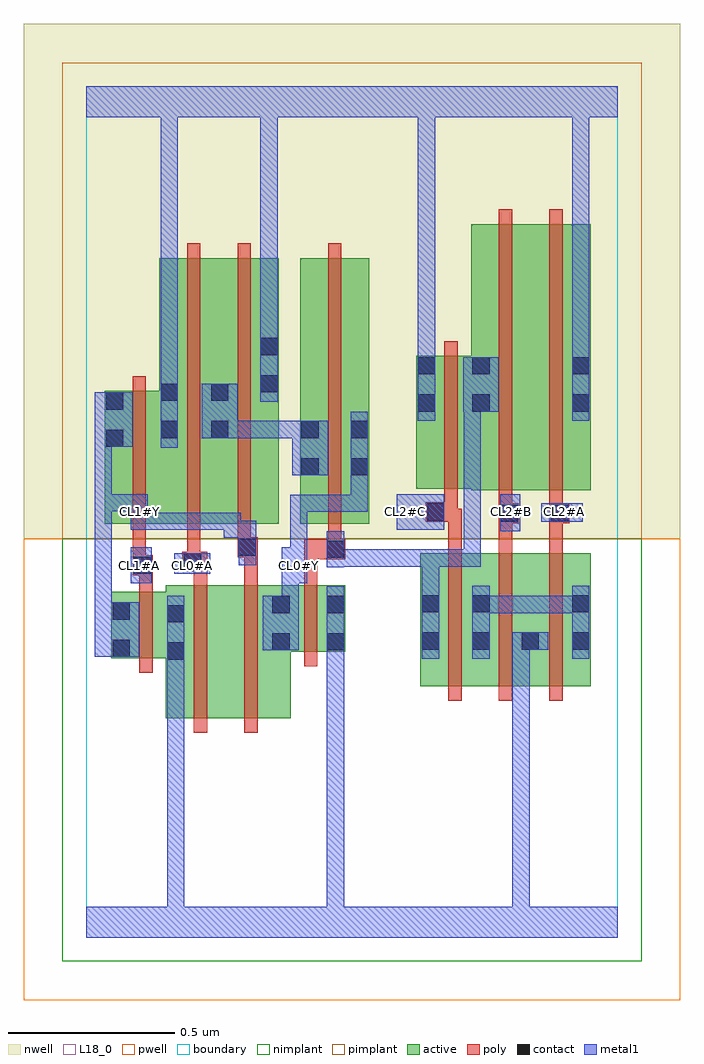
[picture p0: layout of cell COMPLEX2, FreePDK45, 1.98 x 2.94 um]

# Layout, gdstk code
import gdstk
lib = gdstk.Library(unit=1e-6, precision=1e-09)
def R(c, l, rs):  # rectangles x0, y0, x1, y1
    for r in rs: c.add(gdstk.rectangle(r[:2], r[2:], *l))
def A(c, l, x, y, w, h, nx, ny, dx, dy):  # array of equal rectangles
    R(c, l, [(x+i*dx, y+j*dy, x+i*dx+w, y+j*dy+h) for i in range(nx) for j in range(ny)])
active = (1, 0)
pwell = (2, 0)
nwell = (3, 0)
nimplant = (4, 0)
pimplant = (5, 0)
poly = (9, 0)
contact = (10, 0)
metal1 = (11, 0)
L18_0 = (18, 0)
boundary = (235, 0)

complex2 = lib.new_cell('COMPLEX2')
R(complex2, active, [(0.24,0.66,0.42,1.06), (0.24,0.66,0.3,1.004), (0.42,0.66,0.616,1.06), (0.556,0.66,0.616,1.06), (1.006,0.756,1.066,1.156), (1.006,0.756,1.218,1.156), (1.158,0.756,1.218,1.156), (1.158,0.756,1.366,1.156), (1.306,0.756,1.366,1.156), (1.306,0.756,1.518,1.156), (1.458,0.756,1.518,1.156), (0.076,0.84,0.136,1.04), (0.076,0.84,0.3,1.04), (0.556,0.86,0.78,1.06), (0.72,0.86,0.78,1.06), (0.056,1.244,0.116,1.644), (0.056,1.244,0.28,1.644), (0.22,1.244,0.432,2.044), (0.22,1.244,0.28,1.67), (0.372,1.244,0.432,2.044), (0.372,1.244,0.58,2.044), (0.52,1.244,0.58,2.044), (0.644,1.244,0.704,2.044), (0.644,1.244,0.852,2.044), (0.792,1.244,0.852,2.044), (1.158,1.346,1.338,2.146), (1.338,1.346,1.518,2.146), (1.458,1.346,1.518,2.044), (0.994,1.35,1.054,1.75), (0.994,1.35,1.218,1.75), (1.158,1.35,1.218,1.75)])
R(complex2, pwell, [(-0.188,-0.188,1.788,1.2)])
R(complex2, nwell, [(-0.188,1.2,1.788,2.748)])
R(complex2, nimplant, [(-0.072,-0.072,1.672,1.2)])
R(complex2, pimplant, [(-0.072,1.2,1.672,2.632)])
A(complex2, poly, 1.09, 0.712, 0.04, 0.488, 3, 1, 0.152, 0)
R(complex2, poly, [(0.324,0.616,0.364,1.104), (0.476,0.616,0.516,1.104), (0.16,0.796,0.2,1.084), (0.656,0.816,0.696,1.104), (0.16,1.044,0.2,1.13), (0.324,1.064,0.364,1.14), (0.476,1.064,0.516,1.184), (0.656,1.064,0.696,1.178), (0.14,1.09,0.2,1.15), (0.29,1.1,0.364,1.16), (0.14,1.11,0.18,1.15), (0.14,1.11,0.18,1.15), (0.14,1.11,0.18,1.24), (0.304,1.12,0.344,1.16), (0.304,1.12,0.344,1.16), (0.304,1.12,0.344,1.24), (0.656,1.138,0.78,1.198), (0.456,1.144,0.516,1.204), (0.476,1.144,0.516,1.184), (0.476,1.144,0.516,1.184), (0.728,1.158,0.768,1.198), (0.728,1.158,0.768,1.198), (0.728,1.158,0.768,1.24), (1.09,1.16,1.13,1.29), (1.242,1.16,1.282,1.286), (1.394,1.16,1.434,1.286), (0.456,1.164,0.496,1.24), (0.14,1.2,0.18,1.688), (0.304,1.2,0.344,2.088), (0.456,1.2,0.496,2.088), (0.728,1.2,0.768,2.088), (1.242,1.246,1.282,1.286), (1.242,1.246,1.282,1.286), (1.242,1.246,1.302,1.306), (1.394,1.246,1.434,1.286), (1.394,1.246,1.434,1.286), (1.394,1.246,1.454,1.306), (1.022,1.25,1.118,1.31), (1.078,1.25,1.118,1.29), (1.078,1.25,1.13,1.29), (1.242,1.266,1.282,1.342), (1.394,1.266,1.434,1.342), (1.078,1.27,1.118,1.346), (1.242,1.302,1.282,2.19), (1.394,1.302,1.434,2.19), (1.078,1.306,1.118,1.794)])
R(complex2, contact, [(0.244,0.836,0.296,0.888), (0.08,0.844,0.132,0.896), (0.56,0.864,0.612,0.916), (0.724,0.864,0.776,0.916), (1.01,0.866,1.062,0.918), (1.162,0.866,1.214,0.918), (1.31,0.866,1.362,0.918), (1.462,0.866,1.514,0.918), (0.244,0.948,0.296,1), (0.08,0.956,0.132,1.008), (0.56,0.976,0.612,1.028), (0.724,0.976,0.776,1.028), (1.01,0.978,1.062,1.03), (1.162,0.978,1.214,1.03), (1.462,0.978,1.514,1.03), (0.144,1.094,0.196,1.146), (0.294,1.104,0.346,1.156), (0.724,1.142,0.776,1.194), (0.46,1.148,0.512,1.2), (1.246,1.25,1.298,1.302), (1.398,1.25,1.45,1.302), (1.026,1.254,1.078,1.306), (0.648,1.39,0.7,1.442), (0.796,1.39,0.848,1.442), (0.06,1.476,0.112,1.528), (0.224,1.502,0.276,1.554), (0.376,1.502,0.428,1.554), (0.648,1.502,0.7,1.554), (0.796,1.502,0.848,1.554), (0.998,1.582,1.05,1.634), (1.162,1.582,1.214,1.634), (1.462,1.582,1.514,1.634), (0.06,1.588,0.112,1.64), (0.224,1.614,0.276,1.666), (0.376,1.614,0.428,1.666), (0.524,1.64,0.576,1.692), (0.998,1.694,1.05,1.746), (1.162,1.694,1.214,1.746), (1.462,1.694,1.514,1.746), (0.524,1.752,0.576,1.804)])
R(complex2, metal1, [(0,0,1.6,0.092), (0.244,0.04,0.296,0.092), (0.244,0.04,0.296,0.092), (0.244,0.04,0.296,0.86), (0.724,0.04,0.776,0.092), (0.724,0.04,0.776,0.092), (0.724,0.04,0.776,0.888), (1.282,0.04,1.334,0.092), (1.282,0.04,1.334,0.092), (1.282,0.04,1.334,0.092), (1.282,0.04,1.334,0.092), (1.282,0.04,1.334,0.092), (1.282,0.04,1.334,0.092), (1.282,0.04,1.334,0.918), (0.244,0.808,0.296,0.86), (0.244,0.808,0.296,0.86), (0.244,0.808,0.296,0.86), (0.244,0.808,0.296,0.86), (0.244,0.808,0.296,0.86), (0.244,0.808,0.296,0.86), (0.244,0.808,0.296,0.86), (0.244,0.808,0.296,0.86), (0.244,0.808,0.296,0.86), (0.244,0.808,0.296,0.86), (0.244,0.808,0.296,1.028), (0.724,0.836,0.776,0.888), (0.724,0.836,0.776,0.888), (0.724,0.836,0.776,0.888), (0.724,0.836,0.776,0.888), (0.724,0.836,0.776,0.888), (0.724,0.836,0.776,0.888), (0.724,0.836,0.776,0.888), (0.724,0.836,0.776,0.888), (0.724,0.836,0.776,0.888), (0.724,0.836,0.776,0.888), (0.724,0.836,0.776,0.888), (0.724,0.836,0.776,0.888), (0.724,0.836,0.776,0.888), (0.724,0.836,0.776,0.888), (0.724,0.836,0.776,1.056), (1.01,0.838,1.062,1.058), (1.162,0.838,1.214,1.058), (1.462,0.838,1.514,1.058), (0.026,0.844,0.16,1.008), (0.532,0.864,0.64,1.028), (1.282,0.866,1.334,0.918), (1.282,0.866,1.334,0.918), (1.282,0.866,1.334,0.918), (1.282,0.866,1.334,0.918), (1.282,0.866,1.334,0.918), (1.282,0.866,1.334,0.918), (1.282,0.866,1.39,0.918), (0.026,0.956,0.078,1.008), (0.026,0.956,0.078,1.008), (0.026,0.956,0.078,1.334), (0.588,0.976,0.64,1.118), (1.162,0.976,1.214,1.028), (1.162,0.976,1.214,1.028), (1.162,0.976,1.404,1.028), (1.352,0.976,1.404,1.028), (1.352,0.976,1.514,1.028), (1.462,0.976,1.514,1.028), (1.462,0.976,1.514,1.028), (1.01,1.006,1.062,1.168), (0.134,1.066,0.198,1.174), (0.588,1.066,0.666,1.174), (0.266,1.094,0.374,1.156), (0.724,1.114,0.776,1.222), (0.724,1.116,0.776,1.168), (0.724,1.116,0.776,1.168), (0.724,1.116,1.062,1.168), (1.01,1.116,1.062,1.168), (1.01,1.116,1.062,1.168), (1.01,1.116,1.062,1.168), (1.01,1.116,1.188,1.168), (1.136,1.116,1.188,1.168), (1.136,1.116,1.188,1.634), (0.46,1.12,0.512,1.254), (0.614,1.122,0.666,1.332), (0.414,1.202,0.512,1.254), (0.414,1.202,0.466,1.278), (1.246,1.222,1.306,1.334), (0.134,1.226,0.186,1.334), (0.134,1.226,0.308,1.278), (0.256,1.226,0.308,1.278), (0.256,1.226,0.466,1.278), (0.934,1.226,1.078,1.334), (1.37,1.25,1.494,1.306), (0.614,1.28,0.666,1.332), (0.614,1.28,0.848,1.332), (0.796,1.28,0.848,1.332), (0.796,1.28,0.848,1.332), (0.796,1.28,0.848,1.332), (0.796,1.28,0.848,1.414), (0.026,1.282,0.078,1.334), (0.026,1.282,0.078,1.334), (0.026,1.282,0.078,1.334), (0.026,1.282,0.186,1.334), (0.026,1.282,0.078,1.528), (0.796,1.362,0.848,1.582), (0.62,1.39,0.728,1.554), (0.224,1.474,0.276,1.694), (0.026,1.476,0.14,1.64), (0.348,1.502,0.456,1.666), (0.404,1.502,0.456,1.554), (0.404,1.502,0.456,1.554), (0.404,1.502,0.576,1.554), (0.524,1.502,0.576,1.554), (0.524,1.502,0.672,1.554), (0.998,1.554,1.05,1.774), (1.462,1.554,1.514,1.774), (1.134,1.582,1.242,1.746), (1.136,1.582,1.188,1.634), (1.136,1.582,1.188,1.634), (0.524,1.612,0.576,1.832), (0.224,1.642,0.276,1.694), (0.224,1.642,0.276,1.694), (0.224,1.642,0.276,1.694), (0.224,1.642,0.276,1.694), (0.224,1.642,0.276,2.52), (0.998,1.722,1.05,1.774), (0.998,1.722,1.05,1.774), (0.998,1.722,1.05,1.774), (0.998,1.722,1.05,1.774), (0.998,1.722,1.05,1.774), (0.998,1.722,1.05,1.774), (0.998,1.722,1.05,1.774), (0.998,1.722,1.05,1.774), (0.998,1.722,1.05,1.774), (0.998,1.722,1.05,1.774), (0.998,1.722,1.05,1.774), (0.998,1.722,1.05,1.774), (0.998,1.722,1.05,1.774), (0.998,1.722,1.05,1.774), (0.998,1.722,1.05,2.52), (1.462,1.722,1.514,1.774), (1.462,1.722,1.514,1.774), (1.462,1.722,1.514,1.774), (1.462,1.722,1.514,1.774), (1.462,1.722,1.514,2.52), (0.524,1.78,0.576,1.832), (0.524,1.78,0.576,1.832), (0.524,1.78,0.576,2.52), (0,2.468,1.6,2.56), (0.224,2.468,0.276,2.52), (0.224,2.468,0.276,2.52), (0.224,2.468,0.276,2.52), (0.224,2.468,0.276,2.52), (0.524,2.468,0.576,2.52), (0.524,2.468,0.576,2.52), (0.524,2.468,0.576,2.52), (0.524,2.468,0.576,2.52), (0.524,2.468,0.576,2.52), (0.524,2.468,0.576,2.52), (0.998,2.468,1.05,2.52), (0.998,2.468,1.05,2.52), (1.462,2.468,1.514,2.52), (1.462,2.468,1.514,2.52), (1.462,2.468,1.514,2.52), (1.462,2.468,1.514,2.52)])
R(complex2, L18_0, [(0,0,1.6,0.092), (0.244,0.04,0.296,0.092), (0.244,0.04,0.296,0.092), (0.244,0.04,0.296,0.86), (0.724,0.04,0.776,0.092), (0.724,0.04,0.776,0.092), (0.724,0.04,0.776,0.888), (1.282,0.04,1.334,0.092), (1.282,0.04,1.334,0.092), (1.282,0.04,1.334,0.092), (1.282,0.04,1.334,0.092), (1.282,0.04,1.334,0.092), (1.282,0.04,1.334,0.092), (1.282,0.04,1.334,0.918), (0.244,0.808,0.296,0.86), (0.244,0.808,0.296,0.86), (0.244,0.808,0.296,0.86), (0.244,0.808,0.296,0.86), (0.244,0.808,0.296,0.86), (0.244,0.808,0.296,0.86), (0.244,0.808,0.296,0.86), (0.244,0.808,0.296,0.86), (0.244,0.808,0.296,0.86), (0.244,0.808,0.296,0.86), (0.244,0.808,0.296,1.028), (0.724,0.836,0.776,0.888), (0.724,0.836,0.776,0.888), (0.724,0.836,0.776,0.888), (0.724,0.836,0.776,0.888), (0.724,0.836,0.776,0.888), (0.724,0.836,0.776,0.888), (0.724,0.836,0.776,0.888), (0.724,0.836,0.776,0.888), (0.724,0.836,0.776,0.888), (0.724,0.836,0.776,0.888), (0.724,0.836,0.776,0.888), (0.724,0.836,0.776,0.888), (0.724,0.836,0.776,0.888), (0.724,0.836,0.776,0.888), (0.724,0.836,0.776,1.056), (0.026,0.844,0.16,1.008), (0.532,0.864,0.64,1.028), (1.282,0.866,1.334,0.918), (1.282,0.866,1.334,0.918), (1.282,0.866,1.334,0.918), (1.282,0.866,1.334,0.918), (1.282,0.866,1.334,0.918), (1.282,0.866,1.334,0.918), (1.282,0.866,1.39,0.918), (0.026,0.956,0.078,1.008), (0.026,0.956,0.078,1.008), (0.026,0.956,0.078,1.334), (0.588,0.976,0.64,1.118), (0.134,1.066,0.198,1.174), (0.588,1.066,0.666,1.174), (0.134,1.094,0.186,1.146), (0.266,1.094,0.374,1.156), (0.294,1.094,0.346,1.146), (0.614,1.094,0.666,1.146), (0.46,1.12,0.512,1.254), (0.614,1.122,0.666,1.332), (0.414,1.202,0.466,1.278), (0.414,1.202,0.512,1.254), (1.246,1.222,1.306,1.334), (0.134,1.226,0.186,1.334), (0.134,1.226,0.308,1.278), (0.256,1.226,0.308,1.278), (0.256,1.226,0.466,1.278), (0.934,1.226,1.078,1.334), (1.37,1.25,1.494,1.306), (0.134,1.254,0.186,1.306), (0.934,1.254,0.986,1.306), (1.254,1.254,1.306,1.306), (1.414,1.254,1.466,1.306), (0.614,1.28,0.666,1.332), (0.614,1.28,0.848,1.332), (0.796,1.28,0.848,1.332), (0.796,1.28,0.848,1.332), (0.796,1.28,0.848,1.332), (0.796,1.28,0.848,1.414), (0.026,1.282,0.078,1.334), (0.026,1.282,0.078,1.334), (0.026,1.282,0.078,1.334), (0.026,1.282,0.078,1.528), (0.026,1.282,0.186,1.334), (0.796,1.362,0.848,1.582), (0.224,1.474,0.276,1.694), (0.026,1.476,0.14,1.64), (0.998,1.554,1.05,1.774), (1.462,1.554,1.514,1.774), (0.524,1.612,0.576,1.832), (0.224,1.642,0.276,1.694), (0.224,1.642,0.276,1.694), (0.224,1.642,0.276,1.694), (0.224,1.642,0.276,1.694), (0.224,1.642,0.276,2.52), (0.998,1.722,1.05,1.774), (0.998,1.722,1.05,1.774), (0.998,1.722,1.05,1.774), (0.998,1.722,1.05,1.774), (0.998,1.722,1.05,1.774), (0.998,1.722,1.05,1.774), (0.998,1.722,1.05,1.774), (0.998,1.722,1.05,1.774), (0.998,1.722,1.05,1.774), (0.998,1.722,1.05,1.774), (0.998,1.722,1.05,1.774), (0.998,1.722,1.05,1.774), (0.998,1.722,1.05,1.774), (0.998,1.722,1.05,1.774), (0.998,1.722,1.05,2.52), (1.462,1.722,1.514,1.774), (1.462,1.722,1.514,1.774), (1.462,1.722,1.514,1.774), (1.462,1.722,1.514,1.774), (1.462,1.722,1.514,2.52), (0.524,1.78,0.576,1.832), (0.524,1.78,0.576,1.832), (0.524,1.78,0.576,2.52), (0,2.468,1.6,2.56), (0.224,2.468,0.276,2.52), (0.224,2.468,0.276,2.52), (0.224,2.468,0.276,2.52), (0.224,2.468,0.276,2.52), (0.524,2.468,0.576,2.52), (0.524,2.468,0.576,2.52), (0.524,2.468,0.576,2.52), (0.524,2.468,0.576,2.52), (0.524,2.468,0.576,2.52), (0.524,2.468,0.576,2.52), (0.998,2.468,1.05,2.52), (0.998,2.468,1.05,2.52), (1.462,2.468,1.514,2.52), (1.462,2.468,1.514,2.52), (1.462,2.468,1.514,2.52), (1.462,2.468,1.514,2.52)])
R(complex2, boundary, [(0,0,1.6,2.56)])
complex2.add(gdstk.Label('CL0#A', (0.32,1.12), layer=11, texttype=0))
complex2.add(gdstk.Label('CL0#Y', (0.64,1.12), layer=11, texttype=0))
complex2.add(gdstk.Label('CL1#A', (0.16,1.12), layer=11, texttype=0))
complex2.add(gdstk.Label('CL1#Y', (0.16,1.28), layer=11, texttype=0))
complex2.add(gdstk.Label('CL2#A', (1.44,1.28), layer=11, texttype=0))
complex2.add(gdstk.Label('CL2#B', (1.28,1.28), layer=11, texttype=0))
complex2.add(gdstk.Label('CL2#C', (0.96,1.28), layer=11, texttype=0))

lib.write_gds('COMPLEX2.gds')
